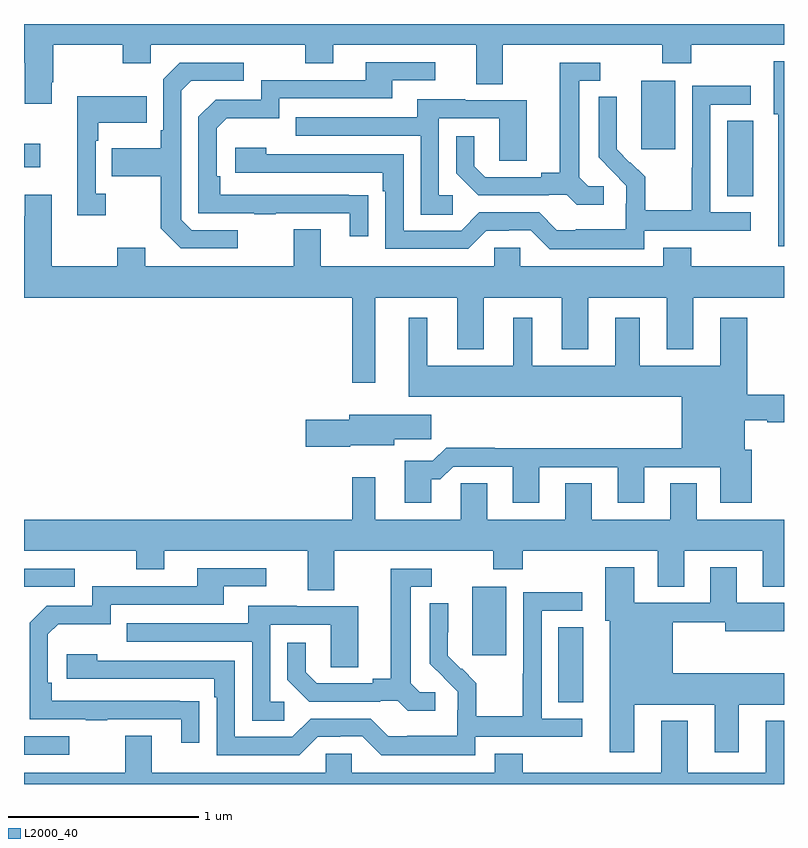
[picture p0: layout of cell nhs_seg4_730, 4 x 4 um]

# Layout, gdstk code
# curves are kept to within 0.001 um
import gdstk
lib = gdstk.Library(unit=1e-6, precision=1e-09)
def R(c, l, rs):  # rectangles x0, y0, x1, y1
    for r in rs: c.add(gdstk.rectangle(r[:2], r[2:], *l))
def P(c, l, *ps):  # polygons
    for p in ps: c.add(gdstk.Polygon(p, *l))
L2000_40 = (2000, 40)

nhs_seg4_730 = lib.new_cell('nhs_seg4_730')
R(nhs_seg4_730, L2000_40, [(147,821.055,147.238,821.151), (149.813,821.329,149.944,821.726), (149.36,821.577,149.539,821.938), (147,821.937,147.268,822.033), (150.701,823.993,150.838,824.39), (147,824.147,147.085,824.269), (150.248,824.241,150.427,824.602)])
P(nhs_seg4_730, L2000_40, [(147.145,824.593),(147.153,824.593),(147.153,824.792),(147.52,824.792),(147.52,824.693),(147.666,824.693),(147.666,824.792),(148.48,824.792),(148.48,824.693),(148.627,824.693),(148.627,824.792),(149.381,824.792),(149.381,824.584),(149.521,824.584),(149.521,824.792),(150.358,824.792),(150.358,824.693),(150.513,824.693),(150.513,824.792),(151,824.792),(151,824.9),(147,824.9),(147,824.696),(147.005,824.696),(147.005,824.481),(147.145,824.481)],
  [(151,824.704),(150.947,824.704),(150.947,824.424),(150.971,824.424),(150.971,823.731),(151,823.731)],
  [(148.811,824),(148.034,824.001),(148.034,824.098),(148.014,824.098),(148.014,824.352),(148.067,824.405),(148.344,824.405),(148.344,824.508),(148.939,824.508),(148.939,824.604),(149.164,824.604),(149.164,824.7),(148.799,824.7),(148.799,824.604),(148.248,824.604),(148.248,824.502),(148.008,824.502),(147.918,824.412),(147.918,823.905),(148.213,823.905),(148.213,823.9),(148.325,823.9),(148.325,823.905),(148.715,823.905),(148.715,823.782),(148.811,823.782)],
  [(150.052,824.046),(149.97,824.046),(149.923,824.093),(149.923,824.601),(150.034,824.601),(150.034,824.697),(149.819,824.697),(149.819,824.117),(149.723,824.117),(149.723,824.094),(149.428,824.094),(149.371,824.151),(149.371,824.308),(149.274,824.308),(149.274,824.114),(149.39,823.998),(149.762,823.998),(149.762,824.001),(149.856,824.001),(149.908,823.949),(150.052,823.949)],
  [(148.126,823.815),(147.882,823.815),(147.828,823.869),(147.828,824.55),(147.879,824.601),(148.156,824.601),(148.156,824.697),(147.819,824.697),(147.732,824.61),(147.732,824.341),(147.72,824.341),(147.72,824.245),(147.463,824.245),(147.463,824.098),(147.72,824.098),(147.72,823.825),(147.825,823.719),(148.126,823.719)],
  [(150.264,823.812),(150.826,823.812),(150.826,823.908),(150.612,823.908),(150.612,824.475),(150.826,824.475),(150.826,824.574),(150.516,824.574),(150.516,824.144),(150.514,824.144),(150.514,823.921),(150.269,823.921),(150.269,824.095),(150.192,824.172),(150.189,824.169),(150.119,824.24),(150.12,824.516),(150.024,824.516),(150.024,824.198),(150.17,824.05),(150.17,823.953),(150.168,823.953),(150.168,823.819),(149.905,823.819),(149.905,823.815),(149.805,823.815),(149.712,823.908),(149.397,823.908),(149.301,823.812),(148.998,823.812),(148.998,824.214),(148.274,824.214),(148.274,824.248),(148.113,824.248),(148.113,824.118),(148.889,824.118),(148.889,824.021),(148.902,824.021),(148.902,823.716),(149.337,823.716),(149.433,823.812),(149.552,823.812),(149.552,823.815),(149.667,823.815),(149.767,823.715),(150.264,823.715)],
  [(147.43,824.006),(147.378,824.006),(147.378,824.285),(147.391,824.285),(147.391,824.381),(147.647,824.381),(147.647,824.521),(147.281,824.521),(147.281,823.893),(147.43,823.893)],
  [(149.257,823.998),(149.184,823.998),(149.184,824.403),(149.502,824.403),(149.502,824.179),(149.647,824.179),(149.647,824.499),(149.323,824.499),(149.323,824.503),(149.069,824.503),(149.069,824.409),(148.429,824.409),(148.429,824.313),(149.088,824.313),(149.088,823.897),(149.257,823.897)],
  [(148.849,823.46),(149.279,823.46),(149.279,823.187),(149.419,823.187),(149.419,823.46),(149.831,823.46),(149.831,823.187),(149.971,823.187),(149.971,823.46),(150.383,823.46),(150.383,823.187),(150.523,823.187),(150.523,823.46),(151,823.46),(151,823.624),(150.513,823.624),(150.513,823.723),(150.365,823.723),(150.365,823.624),(149.613,823.624),(149.613,823.722),(149.475,823.722),(149.475,823.624),(148.561,823.624),(148.561,823.819),(148.421,823.819),(148.421,823.624),(147.637,823.624),(147.637,823.723),(147.49,823.723),(147.49,823.624),(147.145,823.624),(147.145,824.002),(147.005,824.002),(147.005,823.889),(147,823.889),(147,823.46),(148.728,823.46),(148.728,823.011),(148.849,823.011)],
  [(149.143,822.503),(149.192,822.503),(149.259,822.57),(149.573,822.57),(149.573,822.381),(149.713,822.381),(149.713,822.567),(150.125,822.567),(150.125,822.381),(150.265,822.381),(150.265,822.567),(150.665,822.567),(150.665,822.381),(150.83,822.381),(150.83,822.66),(150.793,822.66),(150.793,822.815),(150.913,822.815),(150.913,822.803),(151,822.803),(151,822.95),(150.806,822.95),(150.806,823.354),(150.665,823.354),(150.665,823.102),(150.241,823.102),(150.241,823.354),(150.113,823.354),(150.113,823.102),(149.674,823.102),(149.674,823.354),(149.576,823.354),(149.576,823.102),(149.122,823.102),(149.122,823.354),(149.024,823.354),(149.024,822.938),(150.461,822.938),(150.461,822.668),(149.477,822.668),(149.477,822.671),(149.222,822.671),(149.152,822.601),(149.003,822.601),(149.003,822.381),(149.143,822.381)],
  [(148.716,822.683),(148.948,822.683),(148.948,822.715),(149.143,822.715),(149.143,822.844),(148.712,822.844),(148.712,822.818),(148.482,822.818),(148.482,822.676),(148.716,822.676)],
  [(148.633,822.128),(149.47,822.128),(149.47,822.029),(149.625,822.029),(149.625,822.128),(150.335,822.128),(150.335,821.938),(150.475,821.938),(150.475,822.128),(150.887,822.128),(150.887,821.939),(151,821.939),(151,822.292),(150.541,822.292),(150.541,822.482),(150.401,822.482),(150.401,822.292),(149.989,822.292),(149.989,822.482),(149.849,822.482),(149.849,822.292),(149.437,822.292),(149.437,822.482),(149.298,822.482),(149.298,822.292),(148.849,822.292),(148.849,822.514),(148.728,822.514),(148.728,822.292),(147,822.292),(147,822.128),(147.592,822.128),(147.592,822.029),(147.739,822.029),(147.739,822.128),(148.493,822.128),(148.493,821.92),(148.633,821.92)],
  [(150.211,821.318),(150.635,821.318),(150.635,821.067),(150.763,821.067),(150.763,821.318),(151,821.318),(151,821.482),(150.415,821.482),(150.415,821.752),(150.692,821.752),(150.692,821.705),(151,821.705),(151,821.853),(150.957,821.853),(150.957,821.854),(150.751,821.854),(150.751,822.04),(150.611,822.04),(150.611,821.853),(150.211,821.853),(150.211,822.04),(150.059,822.04),(150.059,821.76),(150.083,821.76),(150.083,821.067),(150.211,821.067)],
  [(147.923,821.336),(147.146,821.337),(147.146,821.434),(147.126,821.434),(147.126,821.688),(147.179,821.741),(147.456,821.741),(147.456,821.844),(148.051,821.844),(148.051,821.94),(148.276,821.94),(148.276,822.036),(147.911,822.036),(147.911,821.94),(147.36,821.94),(147.36,821.838),(147.12,821.838),(147.03,821.748),(147.03,821.241),(147.325,821.241),(147.325,821.236),(147.437,821.236),(147.437,821.241),(147.827,821.241),(147.827,821.118),(147.923,821.118)],
  [(149.164,821.382),(149.082,821.382),(149.035,821.429),(149.035,821.937),(149.146,821.937),(149.146,822.033),(148.931,822.033),(148.931,821.453),(148.835,821.453),(148.835,821.43),(148.54,821.43),(148.483,821.487),(148.483,821.644),(148.386,821.644),(148.386,821.45),(148.502,821.334),(148.874,821.334),(148.874,821.337),(148.968,821.337),(149.02,821.285),(149.164,821.285)],
  [(149.376,821.148),(149.938,821.148),(149.938,821.244),(149.724,821.244),(149.724,821.811),(149.938,821.811),(149.938,821.91),(149.628,821.91),(149.628,821.48),(149.626,821.48),(149.626,821.257),(149.381,821.257),(149.381,821.431),(149.304,821.508),(149.301,821.505),(149.231,821.576),(149.232,821.852),(149.136,821.852),(149.136,821.534),(149.282,821.386),(149.282,821.289),(149.28,821.289),(149.28,821.155),(149.017,821.155),(149.017,821.151),(148.917,821.151),(148.824,821.244),(148.509,821.244),(148.413,821.148),(148.11,821.148),(148.11,821.55),(147.386,821.55),(147.386,821.584),(147.225,821.584),(147.225,821.454),(148.001,821.454),(148.001,821.357),(148.014,821.357),(148.014,821.052),(148.449,821.052),(148.545,821.148),(148.664,821.148),(148.664,821.151),(148.779,821.151),(148.879,821.051),(149.376,821.051)],
  [(148.369,821.334),(148.296,821.334),(148.296,821.739),(148.614,821.739),(148.614,821.515),(148.759,821.515),(148.759,821.835),(148.435,821.835),(148.435,821.839),(148.181,821.839),(148.181,821.745),(147.541,821.745),(147.541,821.649),(148.2,821.649),(148.2,821.233),(148.369,821.233)],
  [(151,821.233),(150.905,821.233),(150.905,820.96),(150.493,820.96),(150.493,821.233),(150.353,821.233),(150.353,820.96),(149.625,820.96),(149.625,821.059),(149.477,821.059),(149.477,820.96),(148.725,820.96),(148.725,821.058),(148.587,821.058),(148.587,820.96),(147.673,820.96),(147.673,821.155),(147.533,821.155),(147.533,820.96),(147,820.96),(147,820.9),(151,820.9)])

lib.write_gds('nhs_seg4_730.gds')
